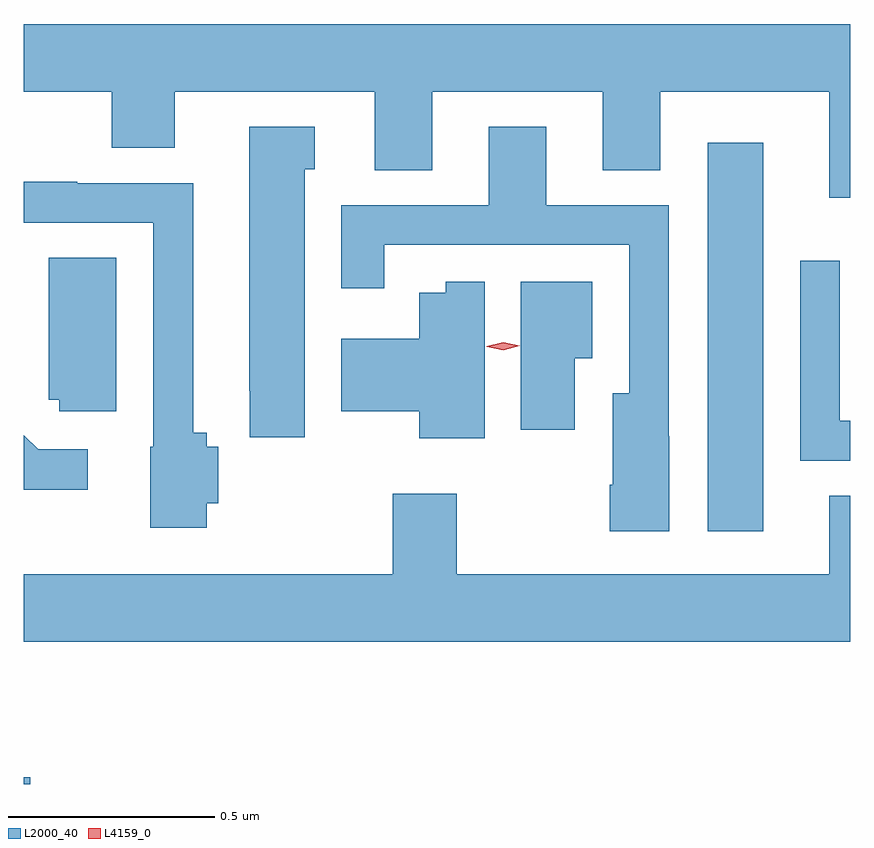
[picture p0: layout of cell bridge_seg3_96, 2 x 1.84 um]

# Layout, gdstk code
import gdstk
lib = gdstk.Library(unit=1e-6, precision=1e-09)
def R(c, l, rs):  # rectangles x0, y0, x1, y1
    for r in rs: c.add(gdstk.rectangle(r[:2], r[2:], *l))
def P(c, l, *ps):  # polygons
    for p in ps: c.add(gdstk.Polygon(p, *l))
L2000_40 = (2000, 40)
L4159_0 = (4159, 0)

bridge_seg3_96 = lib.new_cell('bridge_seg3_96')
R(bridge_seg3_96, L2000_40, [(495.818,735.204,495.833,735.22), (497.474,735.816,497.608,736.756)])
P(bridge_seg3_96, L2000_40, [(497.818,737.044),(495.818,737.044),(495.818,736.88),(496.031,736.88),(496.031,736.744),(496.183,736.744),(496.183,736.88),(496.667,736.88),(496.667,736.69),(496.807,736.69),(496.807,736.88),(497.219,736.88),(497.219,736.69),(497.359,736.69),(497.359,736.88),(497.768,736.88),(497.768,736.623),(497.818,736.623)],
  [(497.38,736.046),(497.379,736.046),(497.379,736.605),(497.083,736.605),(497.083,736.795),(496.943,736.795),(496.943,736.605),(496.586,736.605),(496.586,736.404),(496.69,736.404),(496.69,736.509),(497.283,736.509),(497.283,736.15),(497.243,736.15),(497.243,735.928),(497.236,735.928),(497.236,735.816),(497.38,735.816)],
  [(496.498,736.692),(496.522,736.692),(496.522,736.795),(496.364,736.795),(496.364,736.156),(496.365,736.156),(496.365,736.044),(496.498,736.044)],
  [(496.26,735.884),(496.288,735.884),(496.288,736.02),(496.26,736.02),(496.26,736.055),(496.228,736.055),(496.228,736.659),(495.947,736.659),(495.947,736.662),(495.818,736.662),(495.818,736.563),(496.131,736.563),(496.131,736.02),(496.124,736.02),(496.124,735.824),(496.26,735.824)],
  [(496.042,736.478),(495.878,736.478),(495.878,736.134),(495.903,736.134),(495.903,736.107),(496.042,736.107)],
  [(497.818,736.083),(497.793,736.083),(497.793,736.471),(497.697,736.471),(497.697,735.987),(497.818,735.987)],
  [(497.152,736.235),(497.194,736.235),(497.194,736.42),(497.021,736.42),(497.021,736.062),(497.152,736.062)],
  [(496.933,736.42),(496.839,736.42),(496.839,736.393),(496.775,736.393),(496.775,736.282),(496.586,736.282),(496.586,736.106),(496.775,736.106),(496.775,736.041),(496.933,736.041)],
  [(495.973,736.014),(495.852,736.014),(495.818,736.048),(495.818,735.917),(495.973,735.917)],
  [(497.818,735.902),(497.768,735.902),(497.768,735.712),(496.866,735.712),(496.866,735.907),(496.711,735.907),(496.711,735.712),(495.818,735.712),(495.818,735.548),(497.818,735.548)])
P(bridge_seg3_96, L4159_0, [(496.978,736.254),(496.938,736.263),(496.938,736.264),(496.938,736.264),(496.978,736.274),(497.018,736.265),(497.018,736.265),(497.018,736.265)])

lib.write_gds('bridge_seg3_96.gds')
